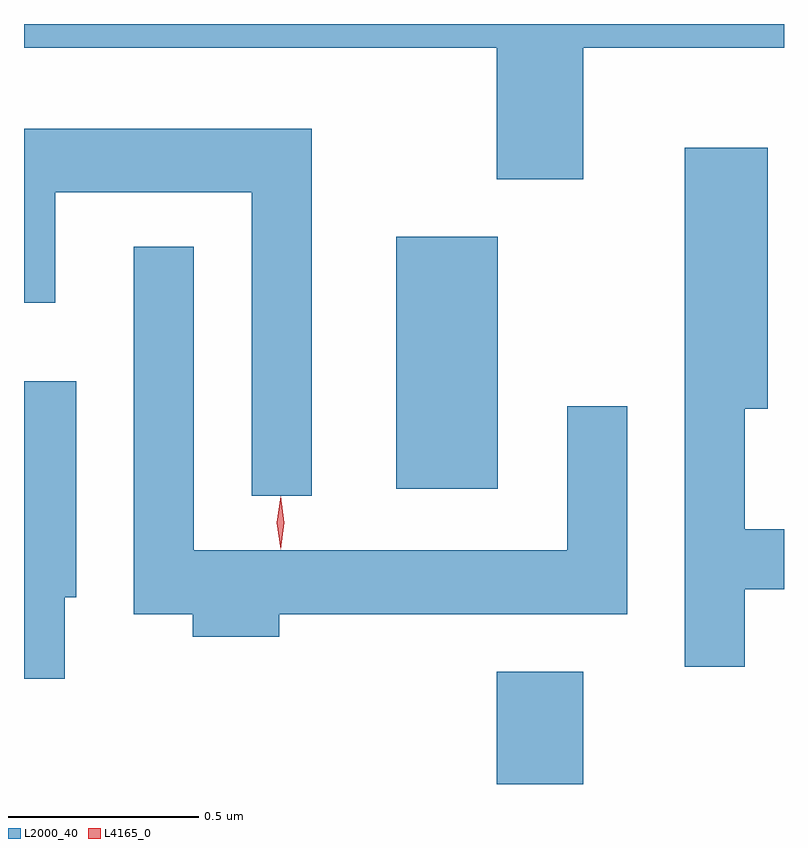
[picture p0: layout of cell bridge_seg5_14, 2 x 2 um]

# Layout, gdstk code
import gdstk
lib = gdstk.Library(unit=1e-6, precision=1e-09)
def R(c, l, rs):  # rectangles x0, y0, x1, y1
    for r in rs: c.add(gdstk.rectangle(r[:2], r[2:], *l))
def P(c, l, *ps):  # polygons
    for p in ps: c.add(gdstk.Polygon(p, *l))
L2000_40 = (2000, 40)
L4165_0 = (4165, 0)

bridge_seg5_14 = lib.new_cell('bridge_seg5_14')
R(bridge_seg5_14, L2000_40, [(1260.031,1472.619,1260.259,1472.914), (1259.766,1473.396,1260.034,1474.059)])
P(bridge_seg5_14, L2000_40, [(1260.259,1474.556),(1260.787,1474.556),(1260.787,1474.619),(1258.787,1474.619),(1258.787,1474.556),(1260.031,1474.556),(1260.031,1474.211),(1260.259,1474.211)],
  [(1259.544,1474.344),(1258.787,1474.344),(1258.787,1473.886),(1258.869,1473.886),(1258.869,1474.176),(1259.386,1474.176),(1259.386,1473.378),(1259.544,1473.378)],
  [(1260.684,1473.131),(1260.787,1473.131),(1260.787,1473.289),(1260.684,1473.289),(1260.684,1473.606),(1260.744,1473.606),(1260.744,1474.294),(1260.526,1474.294),(1260.526,1472.928),(1260.684,1472.928)],
  [(1259.459,1473.066),(1260.374,1473.066),(1260.374,1473.613),(1260.216,1473.613),(1260.216,1473.234),(1259.234,1473.234),(1259.234,1474.033),(1259.076,1474.033),(1259.076,1473.066),(1259.231,1473.066),(1259.231,1473.006),(1259.459,1473.006)],
  [(1258.894,1473.111),(1258.924,1473.111),(1258.924,1473.679),(1258.787,1473.679),(1258.787,1472.896),(1258.894,1472.896)])
P(bridge_seg5_14, L4165_0, [(1259.462,1473.237),(1259.462,1473.237),(1259.452,1473.307),(1259.462,1473.376),(1259.462,1473.376),(1259.463,1473.376),(1259.472,1473.307),(1259.463,1473.237)])

lib.write_gds('bridge_seg5_14.gds')
